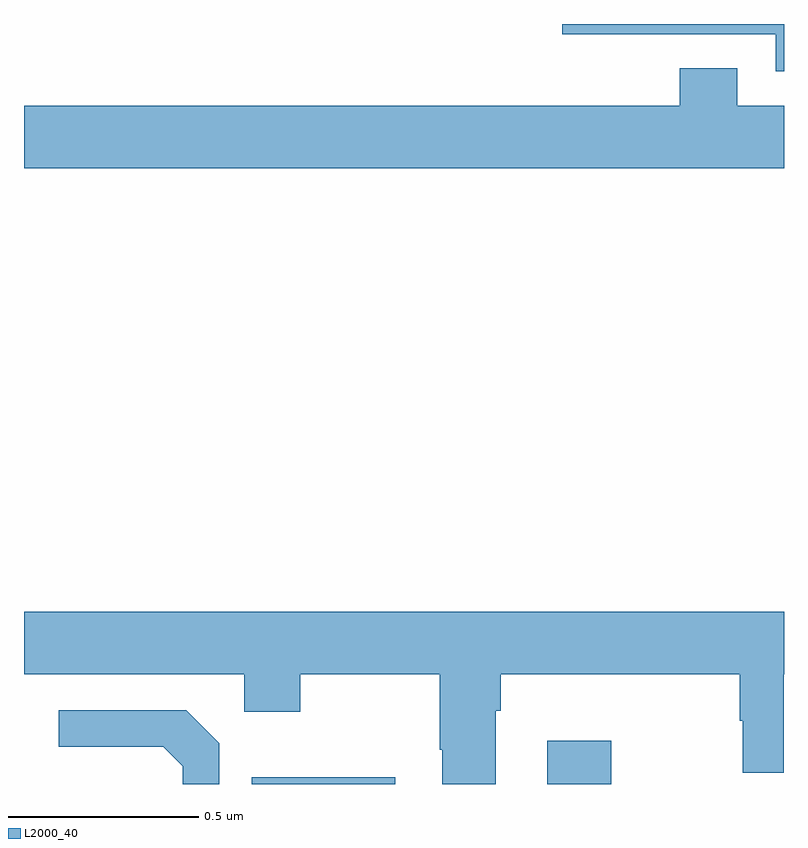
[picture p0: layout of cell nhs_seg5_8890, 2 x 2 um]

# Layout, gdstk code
import gdstk
lib = gdstk.Library(unit=1e-6, precision=1e-09)
def R(c, l, rs):  # rectangles x0, y0, x1, y1
    for r in rs: c.add(gdstk.rectangle(r[:2], r[2:], *l))
def P(c, l, *ps):  # polygons
    for p in ps: c.add(gdstk.Polygon(p, *l))
L2000_40 = (2000, 40)

nhs_seg5_8890 = lib.new_cell('nhs_seg5_8890')
R(nhs_seg5_8890, L2000_40, [(227.599,861.799,227.977,861.817), (228.377,861.799,228.545,861.913)])
P(nhs_seg5_8890, L2000_40, [(229,863.799),(228.417,863.799),(228.417,863.772),(228.978,863.772),(228.978,863.675),(229,863.675)],
  [(229,863.584),(228.877,863.584),(228.877,863.683),(228.725,863.683),(228.725,863.584),(227,863.584),(227,863.42),(229,863.42)],
  [(228.241,861.992),(228.254,861.992),(228.254,862.088),(228.883,862.088),(228.883,861.966),(228.891,861.966),(228.891,861.828),(228.999,861.828),(228.999,862.088),(229,862.088),(229,862.252),(227,862.252),(227,862.088),(227.58,862.088),(227.58,861.989),(227.727,861.989),(227.727,862.088),(228.094,862.088),(228.094,861.889),(228.101,861.889),(228.101,861.799),(228.241,861.799)],
  [(227.514,861.906),(227.427,861.993),(227.091,861.993),(227.091,861.897),(227.367,861.897),(227.418,861.846),(227.418,861.799),(227.514,861.799)])

lib.write_gds('nhs_seg5_8890.gds')
